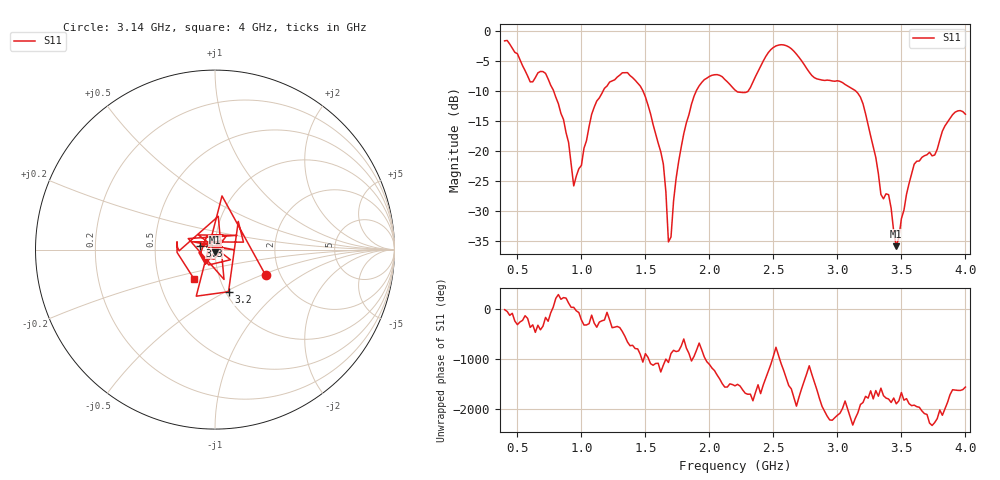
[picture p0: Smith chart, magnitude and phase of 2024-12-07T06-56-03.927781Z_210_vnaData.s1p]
!Created with skrf (http://scikit-rf.org).
# Hz S RI R 50.0
!freq ReS11 ImS11
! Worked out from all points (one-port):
!   181 points, 400 MHz to 4 GHz, reference 50 ohm
!   lowest |S11| = -35.9 dB at 3.46 GHz (marker M1), VSWR 1.03, Z = 49.7 - j1.58 ohm
!   |S11| at or under -10 dB: 782.4 MHz to 1.17 GHz (388 MHz wide, 39.7 % of centre); 1.48 GHz to 1.898 GHz (417.7 MHz wide, 24.7 % of centre); 3.141 GHz to end of sweep (the widest 3 of 4)
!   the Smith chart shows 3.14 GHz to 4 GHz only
!   S11 on the Smith chart (normalised r, x): 3.14 GHz: 1.68, -0.54; 3.2 GHz: 1.03, -0.52; 3.3 GHz: 0.84, +0.04; 4 GHz: 0.75, -0.26
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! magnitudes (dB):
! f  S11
! 400 MHz  -1.7
! 600 MHz  -8.5
! 720 MHz  -7.1
! 860 MHz  -14.8
! 940 MHz  -25.8
! 1.12 GHz  -11.7
! 1.3 GHz  -7.4
! 1.46 GHz  -9.2
! 1.54 GHz  -13.8
! 1.64 GHz  -22.2
! 1.68 GHz  -35.1
! 1.7 GHz  -34.3
! 1.76 GHz  -21.7
! 1.94 GHz  -8.6
! 2.2 GHz  -9.9
! 2.3 GHz  -10.1
! 2.5 GHz  -2.8
! 2.66 GHz  -3.4
! 3.1 GHz  -9.5
! 3.14 GHz  -10.0
! 3.2 GHz  -12.2
! 3.3 GHz  -21.1
! 3.34 GHz  -27.2
! 3.4 GHz  -27.3
! 3.46 GHz  -35.9
! 3.56 GHz  -25.4
! 3.9 GHz  -14.0
! 4 GHz  -13.9
